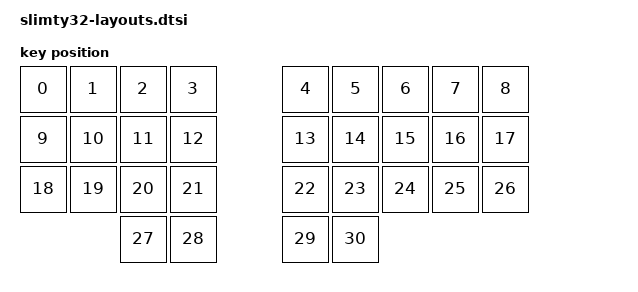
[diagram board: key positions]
#include <physical_layouts.dtsi>

/ {
    default_layout: default_layout {
        compatible = "zmk,physical-layout";
        display-name = "Layout";

        transform = <&default_transform>;

        keys  //                     w   h    x    y     rot    rx    ry
            = <&key_physical_attrs 100 100    0    0       0     0     0>
            , <&key_physical_attrs 100 100  100    0       0     0     0>
            , <&key_physical_attrs 100 100  200    0       0     0     0>
            , <&key_physical_attrs 100 100  300    0       0     0     0>
            , <&key_physical_attrs 100 100  525    0       0     0     0>
            , <&key_physical_attrs 100 100  625    0       0     0     0>
            , <&key_physical_attrs 100 100  725    0       0     0     0>
            , <&key_physical_attrs 100 100  825    0       0     0     0>
            , <&key_physical_attrs 100 100  925    0       0     0     0>
            , <&key_physical_attrs 100 100    0  100       0     0     0>
            , <&key_physical_attrs 100 100  100  100       0     0     0>
            , <&key_physical_attrs 100 100  200  100       0     0     0>
            , <&key_physical_attrs 100 100  300  100       0     0     0>
            , <&key_physical_attrs 100 100  525  100       0     0     0>
            , <&key_physical_attrs 100 100  625  100       0     0     0>
            , <&key_physical_attrs 100 100  725  100       0     0     0>
            , <&key_physical_attrs 100 100  825  100       0     0     0>
            , <&key_physical_attrs 100 100  925  100       0     0     0>
            , <&key_physical_attrs 100 100    0  200       0     0     0>
            , <&key_physical_attrs 100 100  100  200       0     0     0>
            , <&key_physical_attrs 100 100  200  200       0     0     0>
            , <&key_physical_attrs 100 100  300  200       0     0     0>
            , <&key_physical_attrs 100 100  525  200       0     0     0>
            , <&key_physical_attrs 100 100  625  200       0     0     0>
            , <&key_physical_attrs 100 100  725  200       0     0     0>
            , <&key_physical_attrs 100 100  825  200       0     0     0>
            , <&key_physical_attrs 100 100  925  200       0     0     0>
            , <&key_physical_attrs 100 100  200  300       0     0     0>
            , <&key_physical_attrs 100 100  300  300       0     0     0>
            , <&key_physical_attrs 100 100  525  300       0     0     0>
            , <&key_physical_attrs 100 100  625  300       0     0     0>
            ;
    };
};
